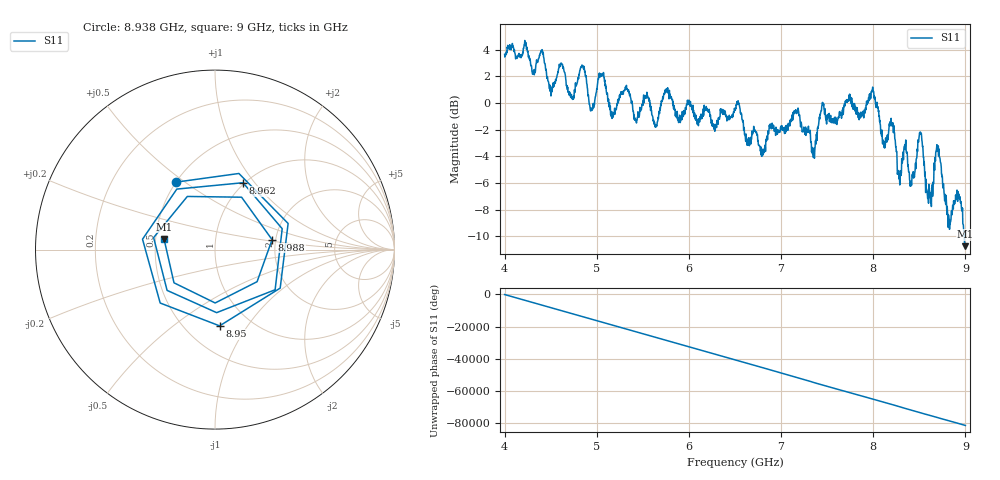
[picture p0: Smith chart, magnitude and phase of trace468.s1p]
! Created with skrf 1.8.0 (http://scikit-rf.org).
# Hz S RI R 50.0
!freq ReS11 ImS11
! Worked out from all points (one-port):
!   1601 points, 4 GHz to 9 GHz, reference 50 ohm
!   lowest |S11| = -10.8 dB at 9 GHz (marker M1), VSWR 1.82, Z = 27.7 + j3.58 ohm
!   |S11| at or under -10 dB: 8.988681 GHz to end of sweep
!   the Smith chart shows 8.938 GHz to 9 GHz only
!   S11 on the Smith chart (normalised r, x): 8.938 GHz: 0.50, +0.46; 8.95 GHz: 0.72, -0.75; 8.962 GHz: 0.98, +0.88; 8.988 GHz: 1.91, +0.24; 9 GHz: 0.55, +0.07
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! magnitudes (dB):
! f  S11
! 4 GHz  3.7
! 4.625 GHz  2.9
! 4.728 GHz  0.4
! 4.847 GHz  2.8
! 4.944 GHz  -0.4
! 5.047 GHz  2.1
! 5.25 GHz  0.4
! 5.875 GHz  -0.8
! 6.5 GHz  -0.5
! 6.797 GHz  -3.6
! 7.125 GHz  -1.3
! 7.353 GHz  -3.8
! 7.444 GHz  -0.1
! 7.75 GHz  0.6
! 7.994 GHz  1.2
! 8.106 GHz  -3.0
! 8.206 GHz  -1.7
! 8.281 GHz  -5.7
! 8.375 GHz  -4.8
! 8.509 GHz  -2.2
! 8.606 GHz  -6.7
! 8.697 GHz  -3.2
! 8.819 GHz  -8.5
! 8.938 GHz  -7.2
! 8.95 GHz  -7.4
! 8.962 GHz  -7.9
! 8.988 GHz  -9.8
! 9 GHz  -10.8
